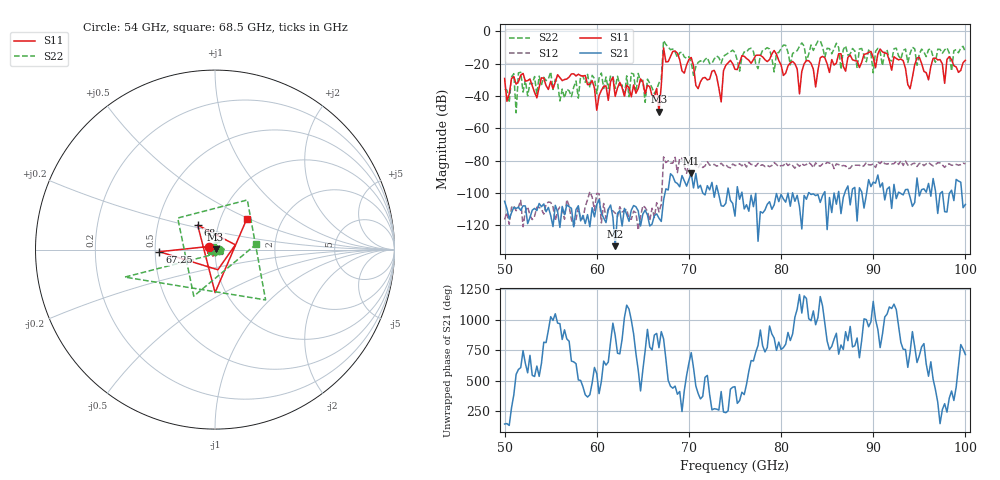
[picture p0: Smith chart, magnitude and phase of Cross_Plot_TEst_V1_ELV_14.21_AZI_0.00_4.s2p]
! 11/25/2026 1:18:27 PM
! C:\ANRITSUVNA\TEMP\TEMP.S2P
! CHANNEL.1
! TR.MEASUREMENT
! RAW.DATA
# HZ S RI R 50.0
! FREQ.HZ  S11RE  S11IM  S21RE  S21IM  S12RE  S12IM  S22RE  S22IM
!; PortSelection: Port_12
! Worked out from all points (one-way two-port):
!   201 points, 50 GHz to 100 GHz, reference 50 ohm
!   highest |S21| = -87.93 dB at 70.25 GHz (marker M1); lowest = -133.0 dB at 62 GHz (marker M2)
!   lowest |S11| = -49.8 dB at 66.75 GHz (marker M3), VSWR 1.01, Z = 50.3 + j0.0705 ohm
!   |S11| at or under -10 dB: start of sweep to end of sweep
!   |S22| runs from -50.4 to -5.6 dB; largest |S21 - S12| = 0.00014
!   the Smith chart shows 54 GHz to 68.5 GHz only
!   S11 on the Smith chart (normalised r, x): 54 GHz: 0.93, +0.03; 67.25 GHz: 0.53, -0.01; 68 GHz: 0.80, +0.22; 68.5 GHz: 1.33, +0.49
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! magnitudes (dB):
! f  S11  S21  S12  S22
! 50 GHz  -29.1  -105.2  -116.5  -35.8
! 51 GHz  -27.9  -108.9  -108.0  -26.2
! 51.25 GHz  -32.6  -109.6  -111.1  -50.4
! 51.5 GHz  -31.2  -108.9  -108.9  -25.7
! 54 GHz  -28.7  -108.6  -110.2  -32.9
! 58.5 GHz  -27.7  -114.0  -116.0  -27.7
! 60 GHz  -48.8  -107.2  -100.3  -38.6
! 62 GHz  -40.2  -133.0  -112.5  -35.2
! 64.75 GHz  -29.4  -120.5  -114.7  -31.2
! 66.75 GHz  -49.8  -115.7  -111.8  -31.9
! 67.25 GHz  -10.2  -104.4  -77.7  -5.6
! 68 GHz  -15.5  -88.1  -81.6  -11.3
! 68.5 GHz  -12.1  -93.3  -77.9  -12.7
! 70.25 GHz  -16.1  -87.9  -80.9  -19.1
! 73.5 GHz  -43.6  -108.0  -81.6  -19.7
! 73.75 GHz  -24.3  -108.3  -83.2  -15.4
! 75 GHz  -23.5  -114.4  -83.1  -13.0
! 83.5 GHz  -23.4  -100.6  -84.4  -11.8
! 91.75 GHz  -18.1  -96.3  -81.8  -17.6
! 94 GHz  -35.5  -102.8  -83.3  -13.7
! 94.75 GHz  -16.4  -90.8  -83.7  -20.9
! 100 GHz  -17.9  -107.1  -82.0  -12.9
